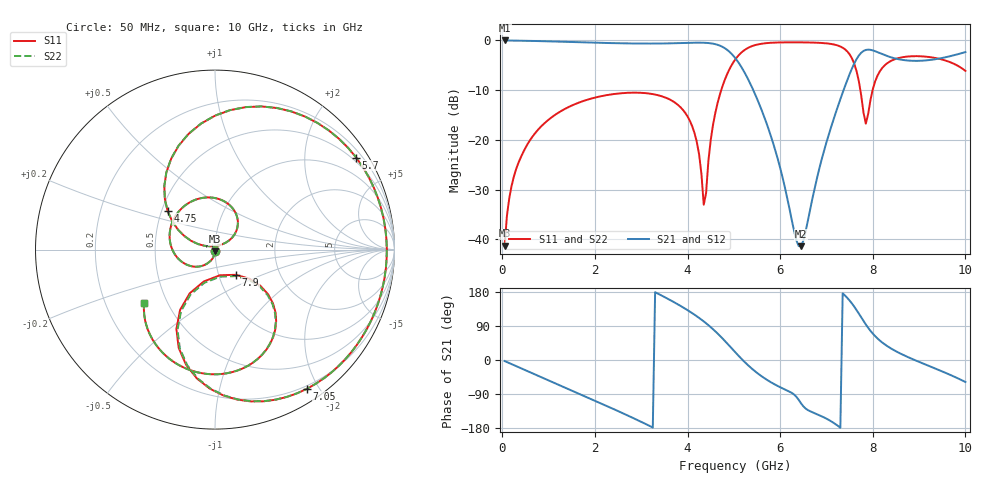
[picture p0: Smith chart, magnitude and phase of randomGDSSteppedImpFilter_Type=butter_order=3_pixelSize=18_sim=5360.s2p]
! freq	dB(S11)	phase(S11)	dB(S12)	phase(S12)
!  dB(S21)	phase(S21)	dB(S22)	phase(S22)
!S-par simulation data
#  GHz  S  DB  R 50
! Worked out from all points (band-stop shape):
!   200 points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, 50 MHz to 10 GHz, reference 50 ohm
!   highest |S21| = 0.00 dB at 50 MHz (marker M1); lowest = -41.4 dB at 6.45 GHz (marker M2)
!   |S21| within 3 dB of the highest: start of sweep to 4.981 GHz; 7.702 GHz to 8.272 GHz (570.1 MHz wide, 7.14 % of centre) (the widest 2 of 3)
!   lowest |S11| = -41.3 dB at 50 MHz (marker M3), VSWR 1.02, Z = 50 - j0.861 ohm
!   |S11| at or under -10 dB: start of sweep to 4.728 GHz; 7.732 GHz to 7.996 GHz (264.5 MHz wide, 3.36 % of centre)
!   |S22| runs from -41.3 to -0.4 dB; largest |S21 - S12| = 0
!   S11 on the Smith chart (normalised r, x): 50 MHz: 1.00, -0.02; 4.75 GHz: 0.54, +0.26; 5.7 GHz: 0.38, +3.32; 7.05 GHz: 0.16, -1.85; 7.9 GHz: 1.21, -0.35; 10 GHz: 0.37, -0.29
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0.05  -41.29 -92.2  -0.00 -2.7  -0.00 -2.7  -41.29 -92.2
0.2  -29.28 -100.4  -0.02 -10.8  -0.02 -10.8  -29.28 -100.4
0.5  -21.60 -117.4  -0.07 -27.0  -0.07 -27.0  -21.60 -117.3
1.75  -12.18 175.2  -0.39 -93.9  -0.39 -93.9  -12.18 175.2
2.7  -10.54 123.2  -0.59 -146.0  -0.59 -146.0  -10.54 123.2
3.4  -11.10 82.4  -0.62 172.7  -0.62 172.7  -11.10 82.4
4.1  -17.23 37.7  -0.47 123.7  -0.47 123.7  -17.23 37.8
4.25  -22.94 32.7  -0.45 111.0  -0.45 111.0  -22.94 32.7
4.35  -33.03 67.9  -0.46 101.9  -0.46 101.9  -33.05 67.9
4.55  -16.99 159.8  -0.65 81.3  -0.65 81.3  -16.99 159.9
4.75  -9.34 140.7  -1.27 57.6  -1.27 57.6  -9.34 140.8
5.05  -3.58 102.7  -3.79 17.9  -3.79 17.9  -3.58 102.8
5.35  -1.30 66.5  -8.60 -18.6  -8.60 -18.6  -1.30 66.5
5.7  -0.55 33.1  -16.50 -51.2  -16.50 -51.2  -0.55 33.2
6.45  -0.38 -18.6  -41.37 -114.2  -41.37 -114.2  -0.38 -18.4
6.7  -0.43 -33.8  -31.64 -138.0  -31.64 -138.0  -0.42 -33.6
7.05  -0.64 -56.6  -18.92 -158.1  -18.92 -158.1  -0.63 -56.4
7.6  -4.68 -110.3  -4.64 140.8  -4.64 140.8  -4.65 -109.5
7.9  -14.81 -50.6  -1.85 85.1  -1.85 85.1  -14.54 -52.0
8.35  -4.34 -59.4  -3.26 33.7  -3.26 33.7  -4.34 -59.8
9.1  -3.22 -98.5  -4.05 -10.0  -4.05 -10.0  -3.22 -98.6
10  -6.11 -143.0  -2.34 -58.0  -2.34 -58.0  -6.11 -142.8
